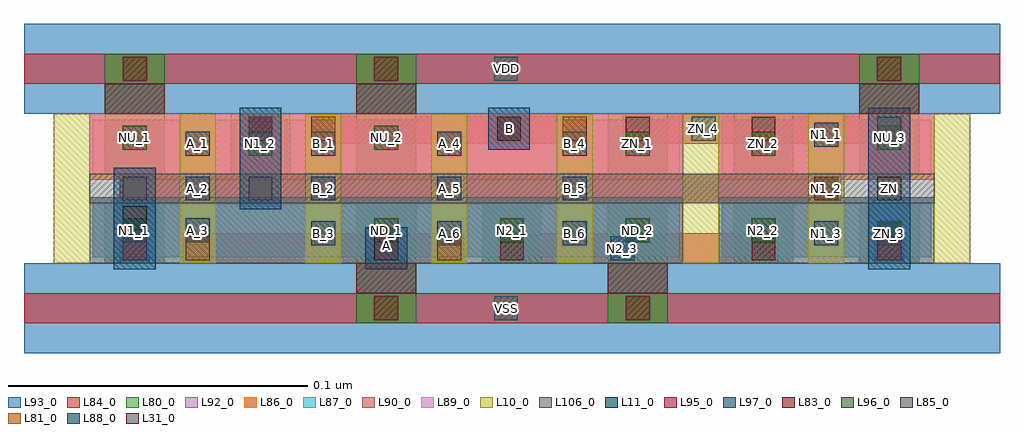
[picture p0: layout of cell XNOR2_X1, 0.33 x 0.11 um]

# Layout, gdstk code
import gdstk
lib = gdstk.Library(unit=1e-6, precision=1e-09)
def R(c, l, rs):  # rectangles x0, y0, x1, y1
    for r in rs: c.add(gdstk.rectangle(r[:2], r[2:], *l))
def A(c, l, x, y, w, h, nx, ny, dx, dy):  # array of equal rectangles
    R(c, l, [(x+i*dx, y+j*dy, x+i*dx+w, y+j*dy+h) for i in range(nx) for j in range(ny)])
L10_0 = (10, 0)
L11_0 = (11, 0)
L31_0 = (31, 0)
L80_0 = (80, 0)
L81_0 = (81, 0)
L83_0 = (83, 0)
L84_0 = (84, 0)
L85_0 = (85, 0)
L86_0 = (86, 0)
L87_0 = (87, 0)
L88_0 = (88, 0)
L89_0 = (89, 0)
L90_0 = (90, 0)
L92_0 = (92, 0)
L93_0 = (93, 0)
L95_0 = (95, 0)
L96_0 = (96, 0)
L97_0 = (97, 0)
L106_0 = (106, 0)

xnor2_x1 = lib.new_cell('XNOR2_X1')
A(xnor2_x1, L10_0, -0.027, 0.015, 0.012, 0.05, 8, 1, 0.042, 0)
R(xnor2_x1, L11_0, [(-0.007,0.013,0.007,0.047), (0.077,0.013,0.091,0.027), (0.245,0.013,0.259,0.047), (0.035,0.033,0.049,0.067), (0.245,0.033,0.259,0.067), (0.118,0.053,0.132,0.067)])
R(xnor2_x1, L31_0, [(0.08,0.016,0.088,0.024), (-0.004,0.026,0.004,0.034), (0.248,0.036,0.256,0.044), (0.121,0.056,0.129,0.064)])
A(xnor2_x1, L80_0, 0.074, 0.015, 0.02, 0.02, 5, 1, 0.042, 0)
R(xnor2_x1, L80_0, [(0.074,-0.005,0.094,0.016), (0.158,-0.005,0.178,0.016), (-0.01,0.015,0.01,0.035), (-0.01,0.045,0.01,0.065), (-0.01,0.045,0.01,0.065), (0.032,0.045,0.052,0.065), (0.032,0.045,0.052,0.065), (0.074,0.045,0.094,0.065), (0.074,0.045,0.094,0.065), (0.158,0.045,0.178,0.065), (0.158,0.045,0.178,0.065), (0.2,0.045,0.22,0.065), (0.2,0.045,0.22,0.065), (0.242,0.045,0.262,0.065), (0.242,0.045,0.262,0.065), (-0.01,0.056,0.01,0.085), (0.074,0.056,0.094,0.085), (0.242,0.056,0.262,0.085)])
R(xnor2_x1, L81_0, [(0.017,0.016,0.025,0.024), (0.101,0.016,0.109,0.024), (0.227,0.036,0.235,0.044), (0.059,0.056,0.067,0.064), (0.143,0.056,0.151,0.064)])
R(xnor2_x1, L83_0, [(0.08,-0.004,0.088,0.004), (0.164,-0.004,0.172,0.004), (-0.004,0.016,0.004,0.024), (0.122,0.016,0.13,0.024), (0.206,0.016,0.214,0.024), (0.248,0.016,0.256,0.024), (0.038,0.056,0.046,0.064), (0.164,0.056,0.172,0.064), (0.206,0.056,0.214,0.064), (-0.004,0.076,0.004,0.084), (0.08,0.076,0.088,0.084), (0.248,0.076,0.256,0.084)])
A(xnor2_x1, L84_0, 0.016, 0.015, 0.031, 0.01, 4, 1, 0.021, 0)
A(xnor2_x1, L84_0, 0.121, 0.015, 0.031, 0.01, 4, 1, 0.021, 0)
A(xnor2_x1, L84_0, -0.005, 0.035, 0.031, 0.01, 11, 1, 0.021, 0)
A(xnor2_x1, L84_0, 0.058, 0.055, 0.031, 0.01, 4, 1, 0.021, 0)
A(xnor2_x1, L84_0, 0.163, 0.055, 0.031, 0.01, 4, 1, 0.021, 0)
R(xnor2_x1, L84_0, [(-0.037,-0.005,0.289,0.005), (-0.005,0.015,0.005,0.025), (0.247,0.015,0.257,0.025), (0.037,0.055,0.047,0.065), (0.099,0.055,0.131,0.065), (-0.037,0.075,0.289,0.085)])
R(xnor2_x1, L85_0, [(-0.004,0.016,0.004,0.024), (0.08,0.016,0.088,0.024), (0.248,0.016,0.256,0.024), (-0.004,0.036,0.004,0.044), (0.038,0.036,0.046,0.044), (0.038,0.056,0.046,0.064), (0.121,0.056,0.129,0.064), (0.248,0.056,0.256,0.064)])
R(xnor2_x1, L86_0, [(-0.015,0.043,0.183,0.065), (0.195,0.043,0.267,0.065)])
R(xnor2_x1, L87_0, [(-0.015,0.015,0.183,0.037), (0.195,0.015,0.267,0.037)])
R(xnor2_x1, L88_0, [(0.12,-0.004,0.128,0.004), (0.159,0.016,0.167,0.024), (0.186,0.056,0.194,0.064), (0.12,0.076,0.128,0.084)])
R(xnor2_x1, L89_0, [(-0.015,0.043,0.183,0.065), (0.195,0.043,0.267,0.065)])
R(xnor2_x1, L90_0, [(-0.015,0.015,0.183,0.037), (0.195,0.015,0.267,0.037)])
R(xnor2_x1, L92_0, [(-0.014,0.017,0.182,0.035), (0.196,0.017,0.266,0.035), (-0.014,0.045,0.182,0.063), (0.196,0.045,0.266,0.063)])
R(xnor2_x1, L93_0, [(-0.037,-0.015,0.289,0.015), (-0.037,0.065,0.289,0.095)])
R(xnor2_x1, L95_0, [(0.074,0.005,0.094,0.015), (0.158,0.005,0.178,0.015), (-0.01,0.065,0.01,0.075), (0.074,0.065,0.094,0.075), (0.242,0.065,0.262,0.075)])
A(xnor2_x1, L96_0, 0.08, 0.022, 0.008, 0.008, 4, 1, 0.042, 0)
R(xnor2_x1, L96_0, [(0.248,0.021,0.256,0.029), (-0.004,0.022,0.004,0.03), (0.038,0.051,0.046,0.059), (0.164,0.051,0.172,0.059), (0.206,0.051,0.214,0.059), (-0.004,0.053,0.004,0.061), (0.08,0.053,0.088,0.061), (0.248,0.053,0.256,0.061)])
A(xnor2_x1, L97_0, 0.059, 0.021, 0.008, 0.008, 3, 1, 0.042, 0)
A(xnor2_x1, L97_0, 0.017, 0.036, 0.008, 0.008, 4, 2, 0.042, 0.015)
R(xnor2_x1, L97_0, [(0.227,0.021,0.235,0.029), (0.017,0.022,0.025,0.03), (0.227,0.036,0.235,0.044), (0.227,0.054,0.235,0.062)])
R(xnor2_x1, L106_0, [(-0.015,0.035,0.267,0.045)])
xnor2_x1.add(gdstk.Label('ZN_4', (0.19,0.06), layer=88, texttype=0))
xnor2_x1.add(gdstk.Label('N2_3', (0.163,0.02), layer=88, texttype=0))
xnor2_x1.add(gdstk.Label('VSS', (0.124,0), layer=88, texttype=0))
xnor2_x1.add(gdstk.Label('VDD', (0.124,0.08), layer=88, texttype=0))
xnor2_x1.add(gdstk.Label('N2_2', (0.21,0.026), layer=96, texttype=0))
xnor2_x1.add(gdstk.Label('N2_1', (0.126,0.026), layer=96, texttype=0))
xnor2_x1.add(gdstk.Label('ZN_2', (0.21,0.055), layer=96, texttype=0))
xnor2_x1.add(gdstk.Label('ZN_1', (0.168,0.055), layer=96, texttype=0))
xnor2_x1.add(gdstk.Label('ZN_3', (0.252,0.025), layer=96, texttype=0))
xnor2_x1.add(gdstk.Label('N1_2', (0.042,0.055), layer=96, texttype=0))
xnor2_x1.add(gdstk.Label('N1_1', (0,0.026), layer=96, texttype=0))
xnor2_x1.add(gdstk.Label('ND_2', (0.168,0.026), layer=96, texttype=0))
xnor2_x1.add(gdstk.Label('ND_1', (0.084,0.026), layer=96, texttype=0))
xnor2_x1.add(gdstk.Label('NU_3', (0.252,0.057), layer=96, texttype=0))
xnor2_x1.add(gdstk.Label('NU_2', (0.084,0.057), layer=96, texttype=0))
xnor2_x1.add(gdstk.Label('NU_1', (0,0.057), layer=96, texttype=0))
xnor2_x1.add(gdstk.Label('B', (0.125,0.06), layer=31, texttype=0))
xnor2_x1.add(gdstk.Label('A', (0.084,0.021), layer=31, texttype=0))
xnor2_x1.add(gdstk.Label('ZN', (0.252,0.04), layer=31, texttype=0))
xnor2_x1.add(gdstk.Label('N1', (0,0.03), layer=31, texttype=0))
xnor2_x1.add(gdstk.Label('B_4', (0.147,0.055), layer=97, texttype=0))
xnor2_x1.add(gdstk.Label('B_5', (0.147,0.04), layer=97, texttype=0))
xnor2_x1.add(gdstk.Label('B_6', (0.147,0.025), layer=97, texttype=0))
xnor2_x1.add(gdstk.Label('B_3', (0.063,0.025), layer=97, texttype=0))
xnor2_x1.add(gdstk.Label('B_2', (0.063,0.04), layer=97, texttype=0))
xnor2_x1.add(gdstk.Label('B_1', (0.063,0.055), layer=97, texttype=0))
xnor2_x1.add(gdstk.Label('A_6', (0.105,0.025), layer=97, texttype=0))
xnor2_x1.add(gdstk.Label('A_5', (0.105,0.04), layer=97, texttype=0))
xnor2_x1.add(gdstk.Label('A_4', (0.105,0.055), layer=97, texttype=0))
xnor2_x1.add(gdstk.Label('A_1', (0.021,0.055), layer=97, texttype=0))
xnor2_x1.add(gdstk.Label('A_3', (0.021,0.026), layer=97, texttype=0))
xnor2_x1.add(gdstk.Label('A_2', (0.021,0.04), layer=97, texttype=0))
xnor2_x1.add(gdstk.Label('N1_3', (0.231,0.025), layer=97, texttype=0))
xnor2_x1.add(gdstk.Label('N1_2', (0.231,0.04), layer=97, texttype=0))
xnor2_x1.add(gdstk.Label('N1_1', (0.231,0.058), layer=97, texttype=0))

lib.write_gds('XNOR2_X1.gds')
